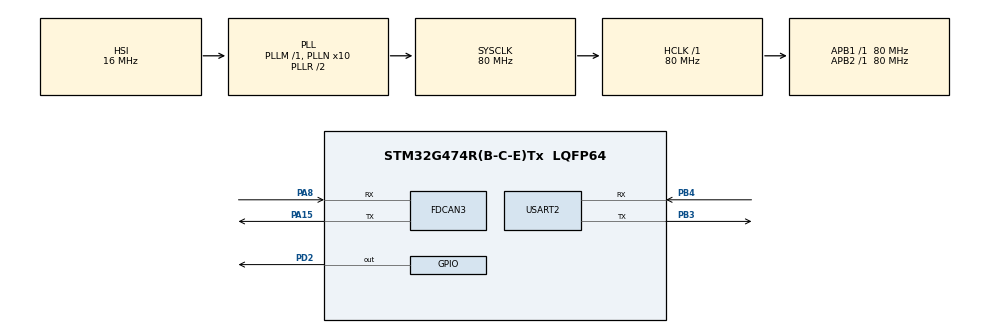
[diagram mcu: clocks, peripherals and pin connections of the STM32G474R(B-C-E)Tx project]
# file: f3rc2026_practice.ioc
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FDCAN3.CalculateBaudRateNominal=1000000
FDCAN3.CalculateTimeBitNominal=1000
FDCAN3.CalculateTimeQuantumNominal=50.0
FDCAN3.DataPrescaler=2
FDCAN3.DataTimeSeg1=15
FDCAN3.DataTimeSeg2=4
FDCAN3.FrameFormat=FDCAN_FRAME_FD_BRS
FDCAN3.NominalPrescaler=4
FDCAN3.NominalTimeSeg1=15
FDCAN3.NominalTimeSeg2=4
FDCAN3.StdFiltersNbr=1
Mcu.Family=STM32G4
Mcu.Name=STM32G474R(B-C-E)Tx
Mcu.Package=LQFP64
NVIC.FDCAN3_IT0_IRQn=true\:0\:0\:false\:false\:true\:true\:true\:true
NVIC.FDCAN3_IT1_IRQn=true\:0\:0\:false\:false\:true\:true\:true\:true
NVIC.PriorityGroup=NVIC_PRIORITYGROUP_4
NVIC.TIM6_DAC_IRQn=true\:0\:0\:false\:false\:true\:true\:true\:true
PA15.Mode=FDCAN_Activate
PA15.Signal=FDCAN3_TX
PA8.Mode=FDCAN_Activate
PA8.Signal=FDCAN3_RX
PB3.Mode=Asynchronous
PB3.Signal=USART2_TX
PB4.Mode=Asynchronous
PB4.Signal=USART2_RX
PD2.Signal=GPIO_Output
ProjectManager.HeapSize=0x200
ProjectManager.StackSize=0x400
ProjectManager.TargetToolchain=CMake
RCC.ADC12Freq_Value=80000000
RCC.ADC345Freq_Value=80000000
RCC.AHBFreq_Value=80000000
RCC.APB1Freq_Value=80000000
RCC.APB1TimFreq_Value=80000000
RCC.APB2Freq_Value=80000000
RCC.APB2TimFreq_Value=80000000
RCC.CortexFreq_Value=80000000
RCC.EXTERNAL_CLOCK_VALUE=12288000
RCC.HCLKFreq_Value=80000000
RCC.HSE_VALUE=8000000
RCC.HSI48_VALUE=48000000
RCC.HSI_VALUE=16000000
RCC.LSE_VALUE=32768
RCC.PLLN=10
RCC.SYSCLKFreq_VALUE=80000000
RCC.SYSCLKSource=RCC_SYSCLKSOURCE_PLLCLK
RCC.USBFreq_Value=80000000
RCC.VCOOutputFreq_Value=160000000
TIM6.PeriodNoDither=999
TIM6.Prescaler=79
USART2.VirtualMode-Asynchronous=VM_ASYNC
VP_SYS_VS_DBSignals.Mode=DisableDeadBatterySignals
VP_TIM6_VS_ClockSourceINT.Mode=Enable_Timer
board=custom

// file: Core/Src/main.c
/* USER CODE BEGIN Header */
/**
  ******************************************************************************
  * @file           : main.c
  * @brief          : Main program body
  ******************************************************************************
  * @attention
  *
  * Copyright (c) 2026 STMicroelectronics.
  * All rights reserved.
  *
  * This software is licensed under terms that can be found in the LICENSE file
  * in the root directory of this software component.
  * If no LICENSE file comes with this software, it is provided AS-IS.
  *
  ******************************************************************************
  */
/* USER CODE END Header */
#include "main.h"

/* USER CODE BEGIN Includes */
#include <stdio.h>
#include <math.h>
#include <string.h>
/* USER CODE END Includes */

/* USER CODE BEGIN PD */
#define INV_SQRT_2 0.70710678f // √2分の１の定義

/* USER CODE END PD */

FDCAN_HandleTypeDef hfdcan3;

TIM_HandleTypeDef htim6;

UART_HandleTypeDef huart2;

/* USER CODE BEGIN PV */
//ESP32からの速度指令を受け取るための変数
volatile float Vx = 0.0f;
volatile float Vy = 0.0f;
volatile float omega = 0.0f;

//車体中心からオムニまでの長さ
const float R = 0.21f;

//ESP32からの速度指令を受け取るための箱
char rxBuf[64];
volatile uint8_t rxFlag = 0; // 受信完了フラグ
uint8_t rxChar; // 受信文字
volatile uint8_t rxIndex = 0; // 受信箱のインデックス

//講習モーターのためのテキストヘッダー
FDCAN_TxHeaderTypeDef TxHeader_motor;

//モーター変数　反時計回りに右上からABCD
float motor_speed_A = 0.0f;
float motor_speed_B = 0.0f;
float motor_speed_C = 0.0f;
float motor_speed_D = 0.0f;

//電流地
uint8_t TxData[8];

//PID制御のための変数
typedef struct {
  uint16_t CANID;
  float trgVel;
  int16_t actVel;
  int16_t p_actVel;
  float hensa;
  float ind;
  int16_t cu;
} Robomas_t;
Robomas_t robomas[4];

/* USER CODE END PV */

void SystemClock_Config(void);
static void MX_GPIO_Init(void);
static void MX_TIM6_Init(void);
static void MX_USART2_UART_Init(void);
static void MX_FDCAN3_Init(void);
/* USER CODE BEGIN PFP */
void OmniKinematics(void);
void SendMotorCurrent(int16_t current_A, int16_t current_B, int16_t current_C, int16_t current_D);

/* USER CODE END PFP */

/* USER CODE BEGIN 0 */

// CAN_SEND(0x7FE, TxData, &hfdcan1, &TxHeader); // example usage
HAL_StatusTypeDef CAN_SEND(uint32_t CANID, uint8_t *txdata, FDCAN_HandleTypeDef *hfdcan, FDCAN_TxHeaderTypeDef *htxheader)
{
  htxheader->Identifier = CANID;
  if (HAL_OK != HAL_FDCAN_AddMessageToTxFifoQ(hfdcan, htxheader, txdata))
  {
    printf("addmessage error\r\n");
    return HAL_ERROR;
  }
  return HAL_OK;
}

void motor_CAN_filter_init(FDCAN_FilterTypeDef *Hfdcan_Filter_Settings)
{
  Hfdcan_Filter_Settings->IdType = FDCAN_STANDARD_ID;
  Hfdcan_Filter_Settings->FilterIndex = 0;
  Hfdcan_Filter_Settings->FilterType = FDCAN_FILTER_RANGE;
  Hfdcan_Filter_Settings->FilterConfig = FDCAN_FILTER_TO_RXFIFO0;
  Hfdcan_Filter_Settings->FilterID1 = 0x200;
  Hfdcan_Filter_Settings->FilterID2 = 0x410;
}

void motor_CAN_txheader_init(FDCAN_TxHeaderTypeDef *Htxheader)
{
  Htxheader->Identifier = 0x200;
  Htxheader->IdType = FDCAN_STANDARD_ID;
  Htxheader->TxFrameType = FDCAN_DATA_FRAME;
  Htxheader->DataLength = FDCAN_DLC_BYTES_8;
  Htxheader->ErrorStateIndicator = FDCAN_ESI_ACTIVE;
  Htxheader->FDFormat = FDCAN_CLASSIC_CAN;
  Htxheader->BitRateSwitch = FDCAN_BRS_ON;
  Htxheader->TxEventFifoControl = FDCAN_NO_TX_EVENTS;
  Htxheader->MessageMarker = 0;
}

HAL_StatusTypeDef motor_CAN_RxTxSettings_init(FDCAN_TxHeaderTypeDef *Htxheader)

{
  FDCAN_FilterTypeDef FDCAN_Filter_settings;
  motor_CAN_filter_init(&FDCAN_Filter_settings);
  motor_CAN_txheader_init(Htxheader);
  if (HAL_OK != HAL_FDCAN_ConfigFilter(&hfdcan3, &FDCAN_Filter_settings))
  {
    printf("fdcan_configfilter is error\r\n");
    return HAL_ERROR;
  }
  if (HAL_OK != HAL_FDCAN_ConfigGlobalFilter(&hfdcan3, FDCAN_REJECT, FDCAN_FILTER_REJECT, FDCAN_FILTER_REMOTE, FDCAN_FILTER_REMOTE))
  {
    printf("fdcan_configglobalfilter is error\r\n");
    return HAL_ERROR;
  }
  if (HAL_OK != HAL_FDCAN_Start(&hfdcan3))
  {
    printf("fdcan_start is error\r\n");
    return HAL_ERROR;
  }
  if (HAL_OK != HAL_FDCAN_ActivateNotification(&hfdcan3, FDCAN_IT_RX_FIFO0_NEW_MESSAGE, 0))
  {
    printf("fdcan_activatenotification is error\r\n");
    return HAL_ERROR;
  }

  return HAL_OK;
}

void HAL_FDCAN_RxFifo0Callback(FDCAN_HandleTypeDef *hfdcan, uint32_t RxFifo0ITs){
 	if ((RxFifo0ITs & FDCAN_IT_RX_FIFO0_NEW_MESSAGE) != RESET) {

    /* Retrieve Rx messages from RX FIFO0 */
		uint8_t RxData_motor[8] = {};
    FDCAN_RxHeaderTypeDef RxHeader_motor;
 		if (HAL_OK != HAL_FDCAN_GetRxMessage(&hfdcan3, FDCAN_RX_FIFO0, &RxHeader_motor, RxData_motor)) {
 			printf("fdcan_getrxmessage_motor is error\r\n");
 			Error_Handler();
 		}
		/*receive robomas's status*/
 		for (int i=0; i < 4; i++){
 			if (RxHeader_motor.Identifier == (robomas[i].CANID)) {
 				//robomas[i].actangle = (int16_t)((RxData_motor[0] << 8) | RxData_motor[1]);
 				robomas[i].actVel = (int16_t)((RxData_motor[2] << 8) | RxData_motor[3]);
 				//robomas[i].actCurrent = (int16_t)((RxData_motor[4] << 8) | RxData_motor[5]);
 			}
 		}
 	}
}

void HAL_TIM_PeriodElapsedCallback(TIM_HandleTypeDef *htim){

	if (&htim6 == htim) {
		float k_p = 7, k_i = 0.5, k_d = 0.1;
		for (int i = 0; i < 4; i++){
			robomas[i].hensa = robomas[i].trgVel - robomas[i].actVel;
			if (robomas[i].hensa >= 1000) robomas[i].hensa = 1000;
			else if (robomas[i].hensa <= -1000) robomas[i].hensa = -1000;
			float d = (robomas[i].p_actVel - robomas[i].actVel) / 0.001f;
			robomas[i].ind += robomas[i].hensa*0.001f;
			if (d >= 30000) d = 30000;
			else if (d <= -30000) d = -30000;
			if (robomas[i].ind >= 10000) robomas[i].ind = 10000;
			else if (robomas[i].ind <= -10000) robomas[i].ind = -10000;

			float t = k_p*robomas[i].hensa;
			if (t>=10000) t = 10000;
			else if (t<=-10000) t = -10000;
			robomas[i].cu = (int16_t)(t+k_i*robomas[i].ind+k_d*d);
			if (robomas[i].cu <= -10000) robomas[i].cu = -10000;
			else if (robomas[i].cu >= 10000) robomas[i].cu = 10000;

			robomas[i].p_actVel = robomas[i].actVel;

		}
    SendMotorCurrent(robomas[0].cu, robomas[1].cu, robomas[2].cu, robomas[3].cu);
	}
}
/* USER CODE END 0 */

int main(void)
{

  /* MCU Configuration--------------------------------------------------------*/

  /* Reset of all peripherals, Initializes the Flash interface and the Systick. */
  HAL_Init();

  /* Configure the system clock */
  SystemClock_Config();

  /* Initialize all configured peripherals */
  MX_GPIO_Init();
  MX_TIM6_Init();
  MX_USART2_UART_Init();
  MX_FDCAN3_Init();
  /* USER CODE BEGIN 2 */
  HAL_TIM_Base_Start_IT(&htim6); // Start TIM6 in interrupt mode
  HAL_UART_Receive_IT(&huart2, &rxChar, 1); // Start UART reception in interrupt mode
  //講習にて導入
  __HAL_RCC_CLEAR_RESET_FLAGS(); // Clear reset flags
  if (HAL_OK != motor_CAN_RxTxSettings_init(&TxHeader_motor)) Error_Handler();
  //モーターのCANIDを設定
  robomas[0].CANID = 0x201;
  robomas[1].CANID = 0x202;
  robomas[2].CANID = 0x203;
  robomas[3].CANID = 0x204;
  //一応初期化
  for (int i = 0; i < 4; i++){
    robomas[i].trgVel = 0;
    robomas[i].actVel = 0;
    robomas[i].p_actVel = 0;
    robomas[i].hensa = 0;
    robomas[i].ind = 0;
    robomas[i].cu = 0;
  }
  /* USER CODE END 2 */

  /* Infinite loop */
  /* USER CODE BEGIN WHILE */
  while (1)
  {
    /*uint8_t txdata[8] = {0 ,1 ,2,3,4,5,6,7}; // Example data to send
    int16_t cu = 842; // Example current value
    txdata[0] = (uint8_t)(cu >> 8);
    txdata[1] = (uint8_t)(cu & 0xFF);
    txdata[2] = (uint8_t)(cu >> 8);
    txdata[3] = (uint8_t)(cu & 0xFF);
    txdata[4] = (uint8_t)(cu >> 8);
    txdata[5] = (uint8_t)(cu & 0xFF);
    txdata[6] = (uint8_t)(cu >> 8);
    txdata[7] = (uint8_t)(cu & 0xFF);
    CAN_SEND(0x200, txdata, &hfdcan3, &TxHeader_motor); // Send CAN message
    HAL_Delay(100);
    */
   Vx = 0.0;
   Vy = 0.0;
   omega = 0.0;  //1.0くらいを想定している
   OmniKinematics();
   HAL_Delay(100);

    /* USER CODE END WHILE */

  }
}

void SystemClock_Config(void)
{
  RCC_OscInitTypeDef RCC_OscInitStruct = {0};
  RCC_ClkInitTypeDef RCC_ClkInitStruct = {0};

  /** Configure the main internal regulator output voltage
  */
  HAL_PWREx_ControlVoltageScaling(PWR_REGULATOR_VOLTAGE_SCALE1);

  /** Initializes the RCC Oscillators according to the specified parameters
  * in the RCC_OscInitTypeDef structure.
  */
  RCC_OscInitStruct.OscillatorType = RCC_OSCILLATORTYPE_HSI;
  RCC_OscInitStruct.HSIState = RCC_HSI_ON;
  RCC_OscInitStruct.HSICalibrationValue = RCC_HSICALIBRATION_DEFAULT;
  RCC_OscInitStruct.PLL.PLLState = RCC_PLL_ON;
  RCC_OscInitStruct.PLL.PLLSource = RCC_PLLSOURCE_HSI;
  RCC_OscInitStruct.PLL.PLLM = RCC_PLLM_DIV1;
  RCC_OscInitStruct.PLL.PLLN = 10;
  RCC_OscInitStruct.PLL.PLLP = RCC_PLLP_DIV2;
  RCC_OscInitStruct.PLL.PLLQ = RCC_PLLQ_DIV2;
  RCC_OscInitStruct.PLL.PLLR = RCC_PLLR_DIV2;
  if (HAL_RCC_OscConfig(&RCC_OscInitStruct) != HAL_OK)
  {
    Error_Handler();
  }

  /** Initializes the CPU, AHB and APB buses clocks
  */
  RCC_ClkInitStruct.ClockType = RCC_CLOCKTYPE_HCLK|RCC_CLOCKTYPE_SYSCLK
                              |RCC_CLOCKTYPE_PCLK1|RCC_CLOCKTYPE_PCLK2;
  RCC_ClkInitStruct.SYSCLKSource = RCC_SYSCLKSOURCE_PLLCLK;
  RCC_ClkInitStruct.AHBCLKDivider = RCC_SYSCLK_DIV1;
  RCC_ClkInitStruct.APB1CLKDivider = RCC_HCLK_DIV1;
  RCC_ClkInitStruct.APB2CLKDivider = RCC_HCLK_DIV1;

  if (HAL_RCC_ClockConfig(&RCC_ClkInitStruct, FLASH_LATENCY_2) != HAL_OK)
  {
    Error_Handler();
  }
}

static void MX_FDCAN3_Init(void)
{

  hfdcan3.Instance = FDCAN3;
  hfdcan3.Init.ClockDivider = FDCAN_CLOCK_DIV1;
  hfdcan3.Init.FrameFormat = FDCAN_FRAME_FD_BRS;
  hfdcan3.Init.Mode = FDCAN_MODE_NORMAL;
  hfdcan3.Init.AutoRetransmission = DISABLE;
  hfdcan3.Init.TransmitPause = DISABLE;
  hfdcan3.Init.ProtocolException = DISABLE;
  hfdcan3.Init.NominalPrescaler = 4;
  hfdcan3.Init.NominalSyncJumpWidth = 1;
  hfdcan3.Init.NominalTimeSeg1 = 15;
  hfdcan3.Init.NominalTimeSeg2 = 4;
  hfdcan3.Init.DataPrescaler = 2;
  hfdcan3.Init.DataSyncJumpWidth = 1;
  hfdcan3.Init.DataTimeSeg1 = 15;
  hfdcan3.Init.DataTimeSeg2 = 4;
  hfdcan3.Init.StdFiltersNbr = 1;
  hfdcan3.Init.ExtFiltersNbr = 0;
  hfdcan3.Init.TxFifoQueueMode = FDCAN_TX_FIFO_OPERATION;
  if (HAL_FDCAN_Init(&hfdcan3) != HAL_OK)
  {
    Error_Handler();
  }

}

static void MX_TIM6_Init(void)
{

  TIM_MasterConfigTypeDef sMasterConfig = {0};

  htim6.Instance = TIM6;
  htim6.Init.Prescaler = 79;
  htim6.Init.CounterMode = TIM_COUNTERMODE_UP;
  htim6.Init.Period = 999;
  htim6.Init.AutoReloadPreload = TIM_AUTORELOAD_PRELOAD_DISABLE;
  if (HAL_TIM_Base_Init(&htim6) != HAL_OK)
  {
    Error_Handler();
  }
  sMasterConfig.MasterOutputTrigger = TIM_TRGO_RESET;
  sMasterConfig.MasterSlaveMode = TIM_MASTERSLAVEMODE_DISABLE;
  if (HAL_TIMEx_MasterConfigSynchronization(&htim6, &sMasterConfig) != HAL_OK)
  {
    Error_Handler();
  }

}

static void MX_USART2_UART_Init(void)
{

  huart2.Instance = USART2;
  huart2.Init.BaudRate = 115200;
  huart2.Init.WordLength = UART_WORDLENGTH_8B;
  huart2.Init.StopBits = UART_STOPBITS_1;
  huart2.Init.Parity = UART_PARITY_NONE;
  huart2.Init.Mode = UART_MODE_TX_RX;
  huart2.Init.HwFlowCtl = UART_HWCONTROL_NONE;
  huart2.Init.OverSampling = UART_OVERSAMPLING_16;
  huart2.Init.OneBitSampling = UART_ONE_BIT_SAMPLE_DISABLE;
  huart2.Init.ClockPrescaler = UART_PRESCALER_DIV1;
  huart2.AdvancedInit.AdvFeatureInit = UART_ADVFEATURE_NO_INIT;
  if (HAL_UART_Init(&huart2) != HAL_OK)
  {
    Error_Handler();
  }
  if (HAL_UARTEx_SetTxFifoThreshold(&huart2, UART_TXFIFO_THRESHOLD_1_8) != HAL_OK)
  {
    Error_Handler();
  }
  if (HAL_UARTEx_SetRxFifoThreshold(&huart2, UART_RXFIFO_THRESHOLD_1_8) != HAL_OK)
  {
    Error_Handler();
  }
  if (HAL_UARTEx_DisableFifoMode(&huart2) != HAL_OK)
  {
    Error_Handler();
  }

}

static void MX_GPIO_Init(void)
{
  GPIO_InitTypeDef GPIO_InitStruct = {0};

  /* GPIO Ports Clock Enable */
  __HAL_RCC_GPIOA_CLK_ENABLE();
  __HAL_RCC_GPIOD_CLK_ENABLE();
  __HAL_RCC_GPIOB_CLK_ENABLE();

  /*Configure GPIO pin Output Level */
  HAL_GPIO_WritePin(GPIOD, GPIO_PIN_2, GPIO_PIN_RESET);

  /*Configure GPIO pin : PD2 */
  GPIO_InitStruct.Pin = GPIO_PIN_2;
  GPIO_InitStruct.Mode = GPIO_MODE_OUTPUT_PP;
  GPIO_InitStruct.Pull = GPIO_NOPULL;
  GPIO_InitStruct.Speed = GPIO_SPEED_FREQ_LOW;
  HAL_GPIO_Init(GPIOD, &GPIO_InitStruct);

}

/* USER CODE BEGIN 4 */

//逆運動学オムニ
void OmniKinematics(void){
  motor_speed_A = INV_SQRT_2 * (Vx - Vy) - omega * R;
  motor_speed_B = INV_SQRT_2 * (Vx + Vy) - omega * R;
  motor_speed_C = INV_SQRT_2 * (- Vx + Vy) - omega * R;
  motor_speed_D = INV_SQRT_2 * (- Vx - Vy) - omega * R;
  //正規化
  float max_speed = fabsf(motor_speed_A);
  if (fabsf(motor_speed_B) > max_speed) {max_speed = fabsf(motor_speed_B);}
  if (fabsf(motor_speed_C) > max_speed) {max_speed = fabsf(motor_speed_C);}
  if (fabsf(motor_speed_D) > max_speed) {max_speed = fabsf(motor_speed_D);}
  if (max_speed > 1.0f) {
    motor_speed_A /= max_speed;
    motor_speed_B /= max_speed;
    motor_speed_C /= max_speed;
    motor_speed_D /= max_speed;
  }
  //PIDにtrgVelを渡す
  robomas[0].trgVel = motor_speed_A*3000;
  robomas[1].trgVel = motor_speed_B*3000;
  robomas[2].trgVel = motor_speed_C*3000;
  robomas[3].trgVel = motor_speed_D*3000;
}

//ESP32からの速度指令を受け取るためのUART割り込みコールバック関数
void HAL_UART_RxCpltCallback(UART_HandleTypeDef *huart) {
  if (huart->Instance == USART2) { // Check if the interrupt is from USART2
    if (rxChar == '\n') { // Check for newline character
      rxBuf[rxIndex] = '\0'; // Null-terminate the string
      rxFlag = 1; // Set the flag to indicate a complete command has been received
      rxIndex = 0; // Reset index for next command
    } else {
      rxBuf[rxIndex++] = rxChar; // Store received character and increment index

      if (rxIndex >= sizeof(rxBuf) - 1) { // Prevent buffer overflow
        rxIndex = 0; // Reset index if buffer is full
      }
    }
    HAL_UART_Receive_IT(&huart2, &rxChar, 1); // Restart UART reception in interrupt mode
  }
}

//電流値の送信関数
void SendMotorCurrent(
    int16_t current_A,
    int16_t current_B,
    int16_t current_C,
    int16_t current_D)
{
    TxData[0] = (current_A >> 8) & 0xFF;
    TxData[1] = current_A & 0xFF;

    TxData[2] = (current_B >> 8) & 0xFF;
    TxData[3] = current_B & 0xFF;

    TxData[4] = (current_C >> 8) & 0xFF;
    TxData[5] = current_C & 0xFF;

    TxData[6] = (current_D >> 8) & 0xFF;
    TxData[7] = current_D & 0xFF;

    CAN_SEND(
        0x200,
        TxData,
        &hfdcan3,
        &TxHeader_motor
    );
}

/*void HAL_FDCAN_RxFifo1Callback(FDCAN_HandleTypeDef *hfdcan, uint32_t RxFifo1ITs){
	if (RESET != (RxFifo1ITs & FDCAN_IT_RX_FIFO1_NEW_MESSAGE)) {

		uint8_t RxData[64] = {};
    FDCAN_RxHeaderTypeDef RxHeader;
		if (HAL_OK != HAL_FDCAN_GetRxMessage(&hfdcan3, FDCAN_RX_FIFO1, &RxHeader, RxData)) {
			printf("fdcan_getrxmessage is error\r\n");
			Error_Handler();
		}
    switch (RxHeader.Identifier)
    {
      case 0x200:
        break;
        default:
        break;
    }
	}
}

void interboard_comms_CAN_filter_init(FDCAN_FilterTypeDef *Hfdcan_Filter_Settings)
{
  Hfdcan_Filter_Settings->IdType = FDCAN_STANDARD_ID;
  Hfdcan_Filter_Settings->FilterIndex = 0;
  Hfdcan_Filter_Settings->FilterType = FDCAN_FILTER_RANGE;
  Hfdcan_Filter_Settings->FilterConfig = FDCAN_FILTER_TO_RXFIFO1;
  Hfdcan_Filter_Settings->FilterID1 = 0x00;
  Hfdcan_Filter_Settings->FilterID2 = 0x7ff;
}

void interboard_comms_CAN_txheader_init(FDCAN_TxHeaderTypeDef *Htxheader)
{
  Htxheader->Identifier = 0x00;
  Htxheader->IdType = FDCAN_STANDARD_ID;
  Htxheader->TxFrameType = FDCAN_DATA_FRAME;
  Htxheader->DataLength = FDCAN_DLC_BYTES_8;
  Htxheader->ErrorStateIndicator = FDCAN_ESI_ACTIVE;
  Htxheader->FDFormat = FDCAN_FD_CAN;
  Htxheader->BitRateSwitch = FDCAN_BRS_ON;
  Htxheader->TxEventFifoControl = FDCAN_NO_TX_EVENTS;
  Htxheader->MessageMarker = 0;
}
*/

/* USER CODE END 4 */

void Error_Handler(void)
{
  __disable_irq();
  while (1)
  {
  }
}
